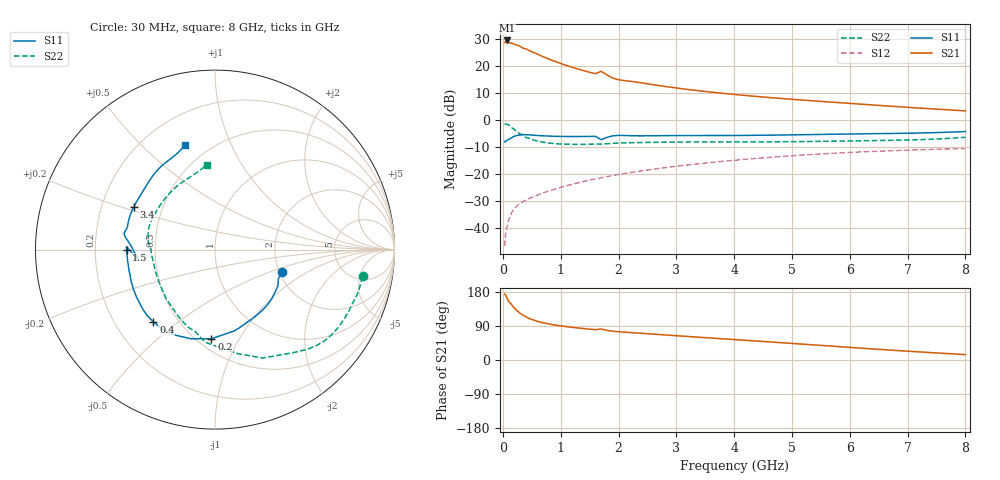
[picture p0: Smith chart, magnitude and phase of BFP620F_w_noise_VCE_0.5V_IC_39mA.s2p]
! Infineon Technologies  Discrete & RF Semiconductors
! BFP620F
! VCE =  0.5 V,  IC =  39 mA
! Common Emitter S-Parameters:  Dec 2014
# GHz  S  MA  R  50
!  f  S11  S21  S12  S22
! GHz  MAG  ANG  MAG  ANG  MAG  ANG  MAG  ANG
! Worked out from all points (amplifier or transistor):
!   95 points, 30 MHz to 8 GHz, reference 50 ohm
!   highest |S21| = 29.3 dB at 70 MHz (marker M1)
!   |S21| within 3 dB of that: start of sweep to 376.5 MHz
!   unconditionally stable (mu >= 1): 1.823 GHz to end of sweep
!   at 300 MHz: K = 0.45, MSG = 29.1 dB, |S12| = -30.9 dB
!   at 3.3 GHz: K = 1.04, MAG = 12.5 dB, |S12| = -16.5 dB
!   at 8 GHz: K = 1.07, MAG = 5.3 dB, |S12| = -10.6 dB
!   lowest NFmin = 1.34 dB at 450 MHz
!   S11 on the Smith chart (normalised r, x): 30 MHz: 2.07, -0.62; 200 MHz: 0.58, -0.77; 400 MHz: 0.37, -0.41; 1.5 GHz: 0.34, -0.00; 3.4 GHz: 0.34, +0.22; 8 GHz: 0.37, +0.68
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0.03  0.3953 -18.6  26.85 174.2  0.0046 84.5  0.8354 -10.3
0.05  0.4047 -29.9  28.2 170.8  0.0087 77.0  0.8304 -17.8
0.07  0.4186 -41.0  29.3 163.9  0.0104 76.6  0.8208 -24.7
0.1  0.4318 -56.3  27.51 155.2  0.0142 69.1  0.8049 -36.0
0.12  0.4421 -65.7  26.18 151.3  0.0163 69.4  0.776 -43.8
0.15  0.4657 -76.8  26.22 146.2  0.0193 63.5  0.7202 -52.9
0.2  0.4974 -92.3  24.89 136.5  0.0229 60.2  0.6598 -66.3
0.3  0.5257 -115.0  22.83 123.0  0.0284 56.3  0.5472 -87.1
0.4  0.5291 -130.4  20.48 114.2  0.0329 54.5  0.4677 -104.0
0.5  0.521 -140.8  18.19 107.1  0.0366 55.2  0.4318 -116.7
0.7  0.505 -154.5  14.58 98.0  0.0447 56.0  0.3851 -135.1
1  0.493 -166.8  11 90.0  0.0562 57.8  0.3563 -153.9
1.4  0.4924 -177.6  8.091 82.9  0.0725 58.9  0.3513 -170.8
1.5  0.4924 -179.8  7.573 81.5  0.0765 58.9  0.3533 -174.0
1.7  0.428 -171.9  7.872 81.9  0.0845 58.7  0.3548 -179.4
2  0.5146 170.0  5.503 74.7  0.0976 57.8  0.3699 174.7
2.7  0.5081 161.0  4.291 67.3  0.1259 54.6  0.3836 165.9
3.4  0.5107 152.3  3.436 60.0  0.1543 50.5  0.3898 158.9
4.1  0.5134 144.3  2.877 52.9  0.1818 45.6  0.3887 151.4
5.4  0.5337 131.9  2.228 39.6  0.23 35.3  0.3983 134.3
6.7  0.5582 119.0  1.786 26.2  0.267 24.2  0.4171 116.2
8  0.6062 106.0  1.46 14.1  0.2939 13.7  0.4741 95.5
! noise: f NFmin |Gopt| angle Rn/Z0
0.45  1.34  0.14  -173  0.16
0.9  1.36  0.14  -172  0.13
1.5  1.37  0.19  -151  0.11
1.8  1.38  0.19  -151  0.12
1.9  1.39  0.19  -150  0.12
2.4  1.41  0.2  214  0.14
3.5  1.47  0.2  220  0.17
5.5  1.61  0.26  246  0.16
6  1.65  0.27  261  0.2
